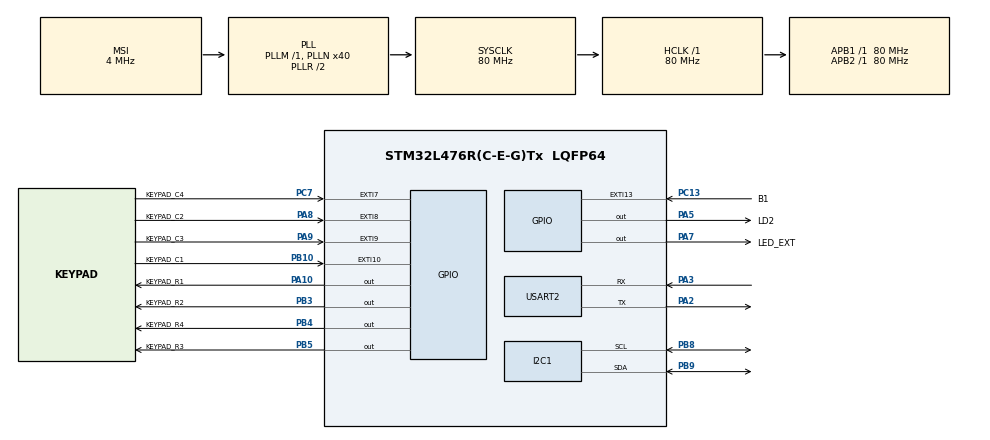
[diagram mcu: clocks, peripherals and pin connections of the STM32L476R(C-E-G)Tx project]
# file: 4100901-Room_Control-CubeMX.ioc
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I2C1.Timing=0x10D19CE4
Mcu.Family=STM32L4
Mcu.Name=STM32L476R(C-E-G)Tx
Mcu.Package=LQFP64
NVIC.EXTI15_10_IRQn=true\:0\:0\:false\:false\:true\:true\:true\:true
NVIC.EXTI9_5_IRQn=true\:0\:0\:false\:false\:true\:true\:true\:true
NVIC.PriorityGroup=NVIC_PRIORITYGROUP_4
NVIC.USART2_IRQn=true\:0\:0\:false\:false\:true\:true\:true\:true
PA10.GPIO_Label=KEYPAD_R1
PA10.Signal=GPIO_Output
PA2.Mode=Asynchronous
PA2.Signal=USART2_TX
PA3.Mode=Asynchronous
PA3.Signal=USART2_RX
PA5.GPIO_Label=LD2
PA5.Signal=GPIO_Output
PA7.GPIO_Label=LED_EXT
PA7.Signal=GPIO_Output
PA8.GPIO_Label=KEYPAD_C2
PA8.GPIO_PuPd=GPIO_PULLUP
PA8.Signal=GPXTI8
PA9.GPIO_Label=KEYPAD_C3
PA9.GPIO_PuPd=GPIO_PULLUP
PA9.Signal=GPXTI9
PB10.GPIO_Label=KEYPAD_C1
PB10.GPIO_PuPd=GPIO_PULLUP
PB10.Signal=GPXTI10
PB3\ (JTDO-TRACESWO).GPIO_Label=KEYPAD_R2
PB3\ (JTDO-TRACESWO).Signal=GPIO_Output
PB4\ (NJTRST).GPIO_Label=KEYPAD_R4
PB4\ (NJTRST).Signal=GPIO_Output
PB5.GPIO_Label=KEYPAD_R3
PB5.Signal=GPIO_Output
PB8.Mode=I2C
PB8.Signal=I2C1_SCL
PB9.Mode=I2C
PB9.Signal=I2C1_SDA
PC13.GPIO_Label=B1
PC13.Signal=GPXTI13
PC7.GPIO_Label=KEYPAD_C4
PC7.GPIO_PuPd=GPIO_PULLUP
PC7.Signal=GPXTI7
ProjectManager.HeapSize=0x200
ProjectManager.StackSize=0x400
ProjectManager.TargetToolchain=CMake
RCC.AHBFreq_Value=80000000
RCC.APB1Freq_Value=80000000
RCC.APB1TimFreq_Value=80000000
RCC.APB2Freq_Value=80000000
RCC.APB2TimFreq_Value=80000000
RCC.CortexFreq_Value=80000000
RCC.HCLKFreq_Value=80000000
RCC.HSE_VALUE=8000000
RCC.HSI_VALUE=16000000
RCC.LSE_VALUE=32768
RCC.MSI_VALUE=4000000
RCC.PLLN=40
RCC.SYSCLKFreq_VALUE=80000000
RCC.SYSCLKSource=RCC_SYSCLKSOURCE_PLLCLK
RCC.VCOOutputFreq_Value=160000000
USART2.VirtualMode-Asynchronous=VM_ASYNC
board=custom

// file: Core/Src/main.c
/* USER CODE BEGIN Header */
/**
  ******************************************************************************
  * @file           : main.c
  * @brief          : Main program body
  ******************************************************************************
  * @attention
  *
  * Copyright (c) 2025 STMicroelectronics.
  * All rights reserved.
  *
  * This software is licensed under terms that can be found in the LICENSE file
  * in the root directory of this software component.
  * If no LICENSE file comes with this software, it is provided AS-IS.
  *
  ******************************************************************************
  */
/* USER CODE END Header */
#include "main.h"

/* USER CODE BEGIN Includes */
#include "LED_Driver.h"
#include "ring_buffer.h"
#include "keypad_driver.h"
#include <stdio.h>
#include "ssd1306.h"
#include "ssd1306_fonts.h"

/* USER CODE END Includes */

I2C_HandleTypeDef hi2c1;

UART_HandleTypeDef huart2;

/* USER CODE BEGIN PV */
led_handle_t led1 = { .port = GPIOA, .pin = GPIO_PIN_5 }; // LD2 en NUCLEO-L476RG

#define ring_buffer_size 64
uint8_t rb_buffer[ring_buffer_size]; // Buffer for the ring buffer
ring_buffer_t rb; // Ring buffer handle

keypad_handle_t keypad = {
    .row_ports = {KEYPAD_R1_GPIO_Port, KEYPAD_R2_GPIO_Port, KEYPAD_R3_GPIO_Port, KEYPAD_R4_GPIO_Port},
    .row_pins  = {KEYPAD_R1_Pin, KEYPAD_R2_Pin, KEYPAD_R3_Pin, KEYPAD_R4_Pin},
    .col_ports = {KEYPAD_C1_GPIO_Port, KEYPAD_C2_GPIO_Port, KEYPAD_C3_GPIO_Port, KEYPAD_C4_GPIO_Port},
    .col_pins  = {KEYPAD_C1_Pin, KEYPAD_C2_Pin, KEYPAD_C3_Pin, KEYPAD_C4_Pin}
};

#define KEYPAD_BUFFER_LEN 16
uint8_t keypad_buffer[KEYPAD_BUFFER_LEN];
ring_buffer_t keypad_rb;

#define CLAVE_LEN 4
const char clave_correcta[CLAVE_LEN] = {'1', '2', '3', '4'};
char clave_ingresada[CLAVE_LEN];
int clave_idx = 0;

/* USER CODE END PV */

void SystemClock_Config(void);
static void MX_GPIO_Init(void);
static void MX_USART2_UART_Init(void);
static void MX_I2C1_Init(void);

/* USER CODE BEGIN 0 */
void HAL_GPIO_EXTI_Callback(uint16_t GPIO_Pin) {
    char key = keypad_scan(&keypad, GPIO_Pin);
    if (key != '\0') {
        ring_buffer_write(&keypad_rb, (uint8_t)key);
    }
}

int __io_putchar(int ch) {
    HAL_UART_Transmit(&huart2, (uint8_t *)&ch, 1, HAL_MAX_DELAY);
    return ch;
}

/* USER CODE END 0 */

int main(void)
{

  /* MCU Configuration--------------------------------------------------------*/

  /* Reset of all peripherals, Initializes the Flash interface and the Systick. */
  HAL_Init();

  /* Configure the system clock */
  SystemClock_Config();

  /* Initialize all configured peripherals */
  MX_GPIO_Init();
  MX_USART2_UART_Init();
  MX_I2C1_Init();
  /* USER CODE BEGIN 2 */

  led_init(&led1);
  ring_buffer_init(&rb, rb_buffer, ring_buffer_size); // Initialize the ring buffer

  ring_buffer_init(&keypad_rb, keypad_buffer, KEYPAD_BUFFER_LEN);
  keypad_init(&keypad);
  printf("Sistema listo. Esperando pulsaciones del teclado...\r\n");

  ring_buffer_write(&rb, 'a');
  ring_buffer_write(&rb, 'e');
  ring_buffer_write(&rb, 'i');
  ring_buffer_write(&rb, 'o');
  ring_buffer_write(&rb, 'u');
  ring_buffer_write(&rb, 'b');
  ring_buffer_write(&rb, 'c');
  ring_buffer_write(&rb, 'd');
  ring_buffer_write(&rb, 'f');
  ring_buffer_write(&rb, 'g');
  ring_buffer_write(&rb, 'h');
  ring_buffer_write(&rb, 'j');
  ring_buffer_write(&rb, 'k');
  ring_buffer_write(&rb, 'm');
  ring_buffer_write(&rb, 'n');
  ring_buffer_write(&rb, 'u');
  ring_buffer_write(&rb, 'p');
  ring_buffer_write(&rb, 'q');

//iria  set cursor , mensaje, fuente, color demas configuraciones

  /* USER CODE END 2 */

  /* Infinite loop */
  /* USER CODE BEGIN WHILE */
  while (1)
  {
    uint8_t key_from_buffer;
    if (ring_buffer_read(&keypad_rb, &key_from_buffer)) {
        printf("Tecla presionada: %c\r\n", (char)key_from_buffer);
        // Guardar la tecla en el arreglo
        if (clave_idx < CLAVE_LEN) {
            clave_ingresada[clave_idx++] = (char)key_from_buffer;
        }
        // Si ya se ingresaron 4 teclas, verificar la clave
        if (clave_idx == CLAVE_LEN) {
            int correcta = 1;
            for (int i = 0; i < CLAVE_LEN; i++) {
                if (clave_ingresada[i] != clave_correcta[i]) {
                    correcta = 0;
                    break;
                }
            }
            if (correcta) {
                printf("Clave correcta\r\n");
                // Parpadeo lento
                for (int i = 0; i < 5; i++) {
                    led_toggle(&led1);
                    HAL_Delay(200);
                }
            } else {
                printf("Clave incorrecta\r\n");
                // Parpadeo rápido
                for (int i = 0; i < 10; i++) {
                    led_toggle(&led1);
                    HAL_Delay(80);
                }
            }
            clave_idx = 0; // Reiniciar para la próxima clave
        }
    }
  }
/* USER CODE END WHILE */

  }

void SystemClock_Config(void)
{
  RCC_OscInitTypeDef RCC_OscInitStruct = {0};
  RCC_ClkInitTypeDef RCC_ClkInitStruct = {0};

  /** Configure the main internal regulator output voltage
  */
  if (HAL_PWREx_ControlVoltageScaling(PWR_REGULATOR_VOLTAGE_SCALE1) != HAL_OK)
  {
    Error_Handler();
  }

  /** Initializes the RCC Oscillators according to the specified parameters
  * in the RCC_OscInitTypeDef structure.
  */
  RCC_OscInitStruct.OscillatorType = RCC_OSCILLATORTYPE_MSI;
  RCC_OscInitStruct.MSIState = RCC_MSI_ON;
  RCC_OscInitStruct.MSICalibrationValue = 0;
  RCC_OscInitStruct.MSIClockRange = RCC_MSIRANGE_6;
  RCC_OscInitStruct.PLL.PLLState = RCC_PLL_ON;
  RCC_OscInitStruct.PLL.PLLSource = RCC_PLLSOURCE_MSI;
  RCC_OscInitStruct.PLL.PLLM = 1;
  RCC_OscInitStruct.PLL.PLLN = 40;
  RCC_OscInitStruct.PLL.PLLP = RCC_PLLP_DIV7;
  RCC_OscInitStruct.PLL.PLLQ = RCC_PLLQ_DIV2;
  RCC_OscInitStruct.PLL.PLLR = RCC_PLLR_DIV2;
  if (HAL_RCC_OscConfig(&RCC_OscInitStruct) != HAL_OK)
  {
    Error_Handler();
  }

  /** Initializes the CPU, AHB and APB buses clocks
  */
  RCC_ClkInitStruct.ClockType = RCC_CLOCKTYPE_HCLK|RCC_CLOCKTYPE_SYSCLK
                              |RCC_CLOCKTYPE_PCLK1|RCC_CLOCKTYPE_PCLK2;
  RCC_ClkInitStruct.SYSCLKSource = RCC_SYSCLKSOURCE_PLLCLK;
  RCC_ClkInitStruct.AHBCLKDivider = RCC_SYSCLK_DIV1;
  RCC_ClkInitStruct.APB1CLKDivider = RCC_HCLK_DIV1;
  RCC_ClkInitStruct.APB2CLKDivider = RCC_HCLK_DIV1;

  if (HAL_RCC_ClockConfig(&RCC_ClkInitStruct, FLASH_LATENCY_4) != HAL_OK)
  {
    Error_Handler();
  }
}

static void MX_I2C1_Init(void)
{

  hi2c1.Instance = I2C1;
  hi2c1.Init.Timing = 0x10D19CE4;
  hi2c1.Init.OwnAddress1 = 0;
  hi2c1.Init.AddressingMode = I2C_ADDRESSINGMODE_7BIT;
  hi2c1.Init.DualAddressMode = I2C_DUALADDRESS_DISABLE;
  hi2c1.Init.OwnAddress2 = 0;
  hi2c1.Init.OwnAddress2Masks = I2C_OA2_NOMASK;
  hi2c1.Init.GeneralCallMode = I2C_GENERALCALL_DISABLE;
  hi2c1.Init.NoStretchMode = I2C_NOSTRETCH_DISABLE;
  if (HAL_I2C_Init(&hi2c1) != HAL_OK)
  {
    Error_Handler();
  }

  /** Configure Analogue filter
  */
  if (HAL_I2CEx_ConfigAnalogFilter(&hi2c1, I2C_ANALOGFILTER_ENABLE) != HAL_OK)
  {
    Error_Handler();
  }

  /** Configure Digital filter
  */
  if (HAL_I2CEx_ConfigDigitalFilter(&hi2c1, 0) != HAL_OK)
  {
    Error_Handler();
  }

}

static void MX_USART2_UART_Init(void)
{

  huart2.Instance = USART2;
  huart2.Init.BaudRate = 115200;
  huart2.Init.WordLength = UART_WORDLENGTH_8B;
  huart2.Init.StopBits = UART_STOPBITS_1;
  huart2.Init.Parity = UART_PARITY_NONE;
  huart2.Init.Mode = UART_MODE_TX_RX;
  huart2.Init.HwFlowCtl = UART_HWCONTROL_NONE;
  huart2.Init.OverSampling = UART_OVERSAMPLING_16;
  huart2.Init.OneBitSampling = UART_ONE_BIT_SAMPLE_DISABLE;
  huart2.AdvancedInit.AdvFeatureInit = UART_ADVFEATURE_NO_INIT;
  if (HAL_UART_Init(&huart2) != HAL_OK)
  {
    Error_Handler();
  }

}

static void MX_GPIO_Init(void)
{
  GPIO_InitTypeDef GPIO_InitStruct = {0};

  /* GPIO Ports Clock Enable */
  __HAL_RCC_GPIOC_CLK_ENABLE();
  __HAL_RCC_GPIOA_CLK_ENABLE();
  __HAL_RCC_GPIOB_CLK_ENABLE();

  /*Configure GPIO pin Output Level */
  HAL_GPIO_WritePin(GPIOA, LD2_Pin|LED_EXT_Pin|KEYPAD_R1_Pin, GPIO_PIN_RESET);

  /*Configure GPIO pin Output Level */
  HAL_GPIO_WritePin(GPIOB, KEYPAD_R2_Pin|KEYPAD_R4_Pin|KEYPAD_R3_Pin, GPIO_PIN_RESET);

  /*Configure GPIO pin : B1_Pin */
  GPIO_InitStruct.Pin = B1_Pin;
  GPIO_InitStruct.Mode = GPIO_MODE_IT_RISING;
  GPIO_InitStruct.Pull = GPIO_NOPULL;
  HAL_GPIO_Init(B1_GPIO_Port, &GPIO_InitStruct);

  /*Configure GPIO pins : LD2_Pin LED_EXT_Pin KEYPAD_R1_Pin */
  GPIO_InitStruct.Pin = LD2_Pin|LED_EXT_Pin|KEYPAD_R1_Pin;
  GPIO_InitStruct.Mode = GPIO_MODE_OUTPUT_PP;
  GPIO_InitStruct.Pull = GPIO_NOPULL;
  GPIO_InitStruct.Speed = GPIO_SPEED_FREQ_LOW;
  HAL_GPIO_Init(GPIOA, &GPIO_InitStruct);

  /*Configure GPIO pin : KEYPAD_C1_Pin */
  GPIO_InitStruct.Pin = KEYPAD_C1_Pin;
  GPIO_InitStruct.Mode = GPIO_MODE_IT_RISING;
  GPIO_InitStruct.Pull = GPIO_PULLUP;
  HAL_GPIO_Init(KEYPAD_C1_GPIO_Port, &GPIO_InitStruct);

  /*Configure GPIO pin : KEYPAD_C4_Pin */
  GPIO_InitStruct.Pin = KEYPAD_C4_Pin;
  GPIO_InitStruct.Mode = GPIO_MODE_IT_RISING;
  GPIO_InitStruct.Pull = GPIO_PULLUP;
  HAL_GPIO_Init(KEYPAD_C4_GPIO_Port, &GPIO_InitStruct);

  /*Configure GPIO pins : KEYPAD_C2_Pin KEYPAD_C3_Pin */
  GPIO_InitStruct.Pin = KEYPAD_C2_Pin|KEYPAD_C3_Pin;
  GPIO_InitStruct.Mode = GPIO_MODE_IT_RISING;
  GPIO_InitStruct.Pull = GPIO_PULLUP;
  HAL_GPIO_Init(GPIOA, &GPIO_InitStruct);

  /*Configure GPIO pins : KEYPAD_R2_Pin KEYPAD_R4_Pin KEYPAD_R3_Pin */
  GPIO_InitStruct.Pin = KEYPAD_R2_Pin|KEYPAD_R4_Pin|KEYPAD_R3_Pin;
  GPIO_InitStruct.Mode = GPIO_MODE_OUTPUT_PP;
  GPIO_InitStruct.Pull = GPIO_NOPULL;
  GPIO_InitStruct.Speed = GPIO_SPEED_FREQ_LOW;
  HAL_GPIO_Init(GPIOB, &GPIO_InitStruct);

  /* EXTI interrupt init*/
  HAL_NVIC_SetPriority(EXTI9_5_IRQn, 0, 0);
  HAL_NVIC_EnableIRQ(EXTI9_5_IRQn);

  HAL_NVIC_SetPriority(EXTI15_10_IRQn, 0, 0);
  HAL_NVIC_EnableIRQ(EXTI15_10_IRQn);

}

void Error_Handler(void)
{
  __disable_irq();
  while (1)
  {
  }
}
